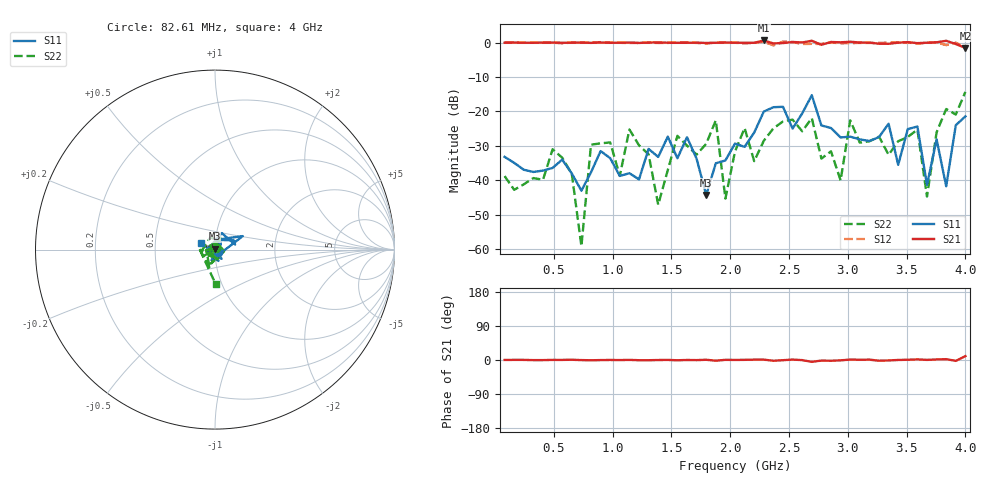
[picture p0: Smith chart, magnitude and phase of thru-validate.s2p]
!Created with skrf (http://scikit-rf.org).
# GHz S DB R 50.0
!freq dBS11 angS11 dBS21 angS21 dBS12 angS12 dBS22 angS22
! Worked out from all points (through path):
!   49 points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, 82.61 MHz to 4 GHz, reference 50 ohm
!   highest |S21| = 0.64 dB at 2.286 GHz (marker M1); lowest = -1.5 dB at 4 GHz (marker M2)
!   lowest |S11| = -44.3 dB at 1.796 GHz (marker M3), VSWR 1.01, Z = 49.7 + j0.54 ohm
!   |S11| at or under -10 dB: start of sweep to end of sweep
!   |S22| runs from -59.2 to -14.3 dB; largest |S21 - S12| = 0.15
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0.08261224  -33.21 -29.2  -0.03 0.2  0.09 0.1  -38.81 73.3
0.5722857  -34.01 -38.1  -0.02 0.3  -0.17 0.1  -33.46 -30.3
0.7355102  -43.06 -3.6  0.04 -0.2  -0.00 -0.0  -59.19 10.2
0.8171224  -37.71 -12.8  -0.06 -0.7  0.06 -0.4  -29.68 39.4
1.061959  -38.77 64.1  0.02 -0.3  -0.04 -0.1  -38.75 -100.4
1.143571  -37.97 -143.6  0.03 0.3  -0.10 -0.5  -25.26 -52.4
1.388408  -33.23 96.7  0.08 -0.1  -0.08 -0.8  -47.13 65.4
1.551633  -33.62 20.7  -0.04 -0.7  0.10 -0.5  -27.09 85.8
1.796469  -44.30 117.0  -0.08 0.6  -0.23 0.3  -29.42 -88.3
1.878082  -35.09 67.1  -0.03 -1.9  0.04 -2.4  -22.60 67.1
1.959694  -34.25 -179.7  0.04 0.4  0.09 0.4  -45.37 -22.1
2.041306  -29.34 135.3  0.01 0.2  -0.03 -0.8  -31.68 -34.5
2.286143  -20.05 67.8  0.64 0.9  0.29 1.8  -28.53 -176.9
2.694204  -15.29 25.9  0.55 -4.8  -0.34 0.4  -21.94 -105.1
2.775816  -24.08 -108.2  -0.62 -1.6  -0.37 -2.8  -33.72 -20.0
3.347102  -23.58 -73.1  -0.33 -1.2  0.01 2.6  -32.61 -172.0
3.428714  -35.52 101.6  0.01 0.1  0.11 0.0  -28.68 85.0
3.591939  -24.38 -97.9  -0.13 1.6  -0.27 2.0  -25.30 -103.7
3.673551  -41.40 139.3  -0.01 0.3  -0.03 0.2  -44.75 94.0
3.755163  -28.13 -50.2  0.11 1.5  0.08 3.4  -26.09 -177.2
3.836776  -41.76 -127.7  0.55 2.2  -0.71 3.0  -19.29 -104.9
4  -21.44 155.2  -1.52 10.3  -1.45 4.5  -14.31 -88.9
